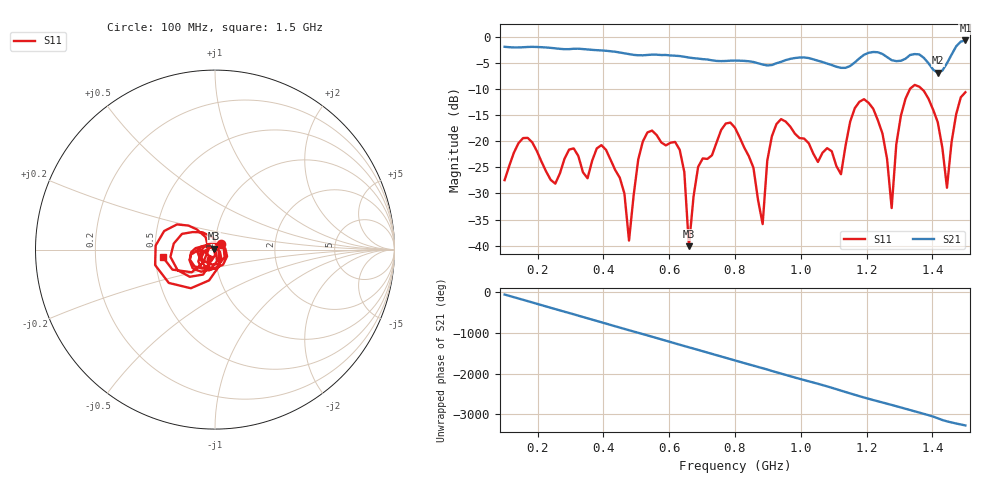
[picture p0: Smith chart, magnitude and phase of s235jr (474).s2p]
! NanoVNA-App
! Date: 2025-09-25 15:07:51
! Start: 100MHz Stop: 1,5GHz Points: 101
! S-Parameter data: F S11 S21 S12 S22
# Hz S RI R 50
!  Frequency  S11_Real  S11_Imag  S21_Real  S21_Imag  S12_Real  S12_Imag  S22_Real  S22_Imag
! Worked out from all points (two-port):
!   101 points, 100 MHz to 1.5 GHz, reference 50 ohm
!   highest |S21| = -0.75 dB at 1.5 GHz (marker M1); lowest = -6.9 dB at 1.416 GHz (marker M2)
!   |S21| within 3 dB of the highest: start of sweep to 633.8 MHz; 1.187 GHz to 1.258 GHz (71.08 MHz wide, 5.82 % of centre) (the widest 2 of 4)
!   lowest |S11| = -40.1 dB at 660 MHz (marker M3), VSWR 1.02, Z = 49.2 + j0.558 ohm
!   |S11| at or under -10 dB: start of sweep to 1.332 GHz; 1.367 GHz to end of sweep
!   S12 and S22 are empty: the file has one direction only
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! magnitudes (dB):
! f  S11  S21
! 100 MHz  -27.5  -2.0
! 156 MHz  -19.4  -2.0
! 338 MHz  -26.0  -2.4
! 408 MHz  -21.7  -2.7
! 478 MHz  -39.0  -3.4
! 520 MHz  -20.1  -3.6
! 576 MHz  -20.3  -3.5
! 632 MHz  -21.7  -3.7
! 660 MHz  -40.1  -4.0
! 688 MHz  -24.9  -4.2
! 800 MHz  -17.4  -4.6
! 884 MHz  -35.9  -5.4
! 926 MHz  -16.7  -5.1
! 1.038 GHz  -22.4  -4.4
! 1.122 GHz  -26.3  -6.0
! 1.192 GHz  -12.0  -3.5
! 1.248 GHz  -18.5  -3.3
! 1.276 GHz  -32.8  -4.5
! 1.332 GHz  -10.0  -3.5
! 1.416 GHz  -16.4  -6.9
! 1.444 GHz  -28.9  -5.1
! 1.5 GHz  -10.7  -0.7
